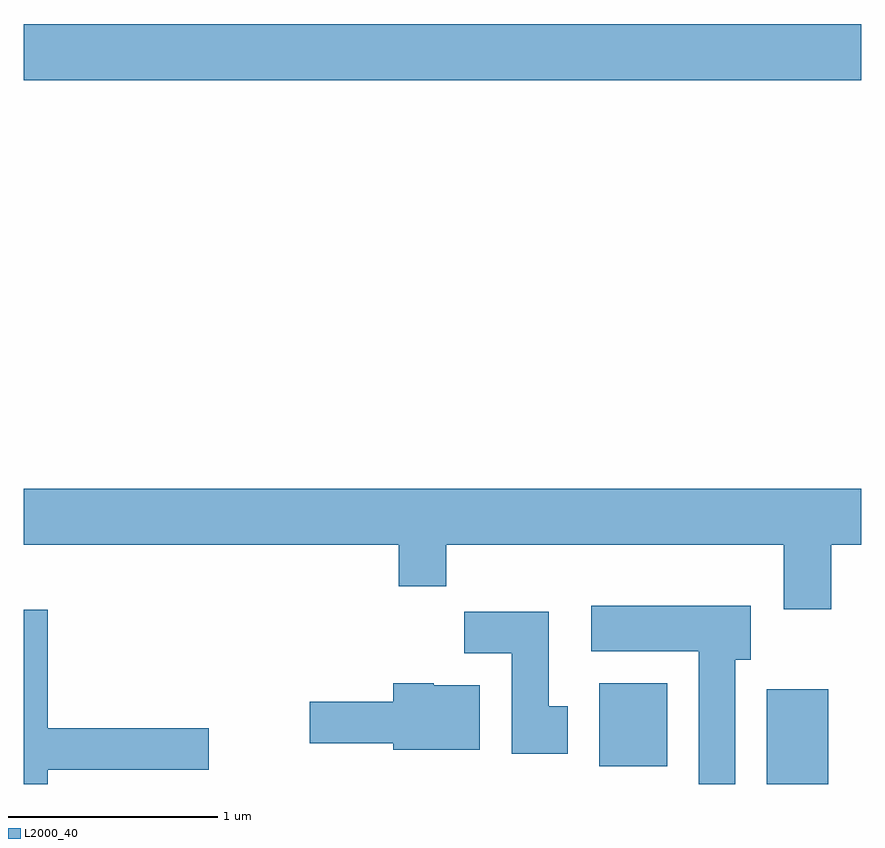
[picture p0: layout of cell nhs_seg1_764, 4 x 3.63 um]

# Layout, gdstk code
import gdstk
lib = gdstk.Library(unit=1e-6, precision=1e-09)
def R(c, l, rs):  # rectangles x0, y0, x1, y1
    for r in rs: c.add(gdstk.rectangle(r[:2], r[2:], *l))
def P(c, l, *ps):  # polygons
    for p in ps: c.add(gdstk.Polygon(p, *l))
L2000_40 = (2000, 40)

nhs_seg1_764 = lib.new_cell('nhs_seg1_764')
R(nhs_seg1_764, L2000_40, [(211.161,951.712,211.454,952.164), (210.361,951.796,210.684,952.194), (207.611,955.076,211.611,955.344)])
P(nhs_seg1_764, L2000_40, [(211.469,952.856),(211.611,952.856),(211.611,953.124),(207.611,953.124),(207.611,952.856),(209.401,952.856),(209.401,952.656),(209.629,952.656),(209.629,952.856),(211.241,952.856),(211.241,952.546),(211.469,952.546)],
  [(211.009,952.306),(211.084,952.306),(211.084,952.564),(210.321,952.564),(210.321,952.346),(210.836,952.346),(210.836,951.712),(211.009,951.712)],
  [(207.724,951.781),(208.494,951.781),(208.494,951.979),(207.724,951.979),(207.724,952.544),(207.611,952.544),(207.611,951.712),(207.724,951.712)],
  [(210.209,952.084),(210.119,952.084),(210.119,952.534),(209.716,952.534),(209.716,952.336),(209.941,952.336),(209.941,951.856),(210.209,951.856)],
  [(209.789,952.184),(209.57,952.184),(209.57,952.194),(209.376,952.194),(209.376,952.104),(208.976,952.104),(208.976,951.906),(209.376,951.906),(209.376,951.876),(209.789,951.876)])

lib.write_gds('nhs_seg1_764.gds')
